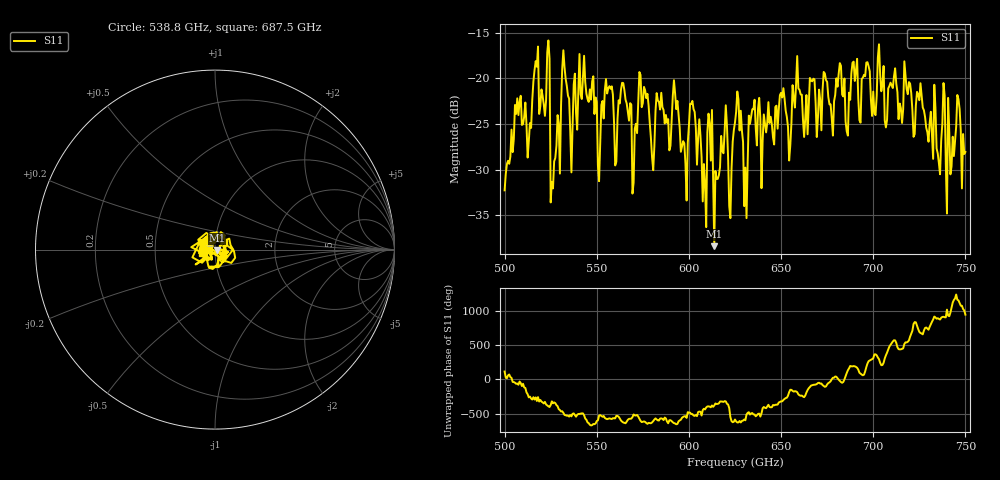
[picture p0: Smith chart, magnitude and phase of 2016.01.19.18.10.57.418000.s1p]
!Created with skrf (http://scikit-rf.org).
# GHz S RI R 50.0
!freq ReS11 ImS11
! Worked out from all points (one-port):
!   401 points, 500 GHz to 750 GHz, reference 50 ohm
!   lowest |S11| = -38.4 dB at 613.8 GHz (marker M1), VSWR 1.02, Z = 51.2 - j0.411 ohm
!   |S11| at or under -10 dB: start of sweep to end of sweep
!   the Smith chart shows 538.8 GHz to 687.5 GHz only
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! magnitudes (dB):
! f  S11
! 500 GHz  -32.3
! 506.9 GHz  -22.2
! 513.1 GHz  -26.9
! 516.9 GHz  -18.1
! 523.1 GHz  -17.2
! 526.2 GHz  -32.0
! 531.2 GHz  -19.0
! 541.9 GHz  -22.2
! 551.2 GHz  -31.2
! 562.5 GHz  -22.7
! 570.6 GHz  -25.5
! 574.4 GHz  -23.1
! 580 GHz  -28.6
! 593.8 GHz  -22.5
! 597.5 GHz  -27.1
! 601.9 GHz  -22.5
! 608.1 GHz  -29.4
! 611.2 GHz  -24.9
! 613.8 GHz  -38.4
! 619.4 GHz  -25.8
! 622.5 GHz  -35.3
! 625 GHz  -24.8
! 630.6 GHz  -29.8
! 634.4 GHz  -23.4
! 656.2 GHz  -20.7
! 687.5 GHz  -22.3
! 718.8 GHz  -21.7
! 750 GHz  -28.0
